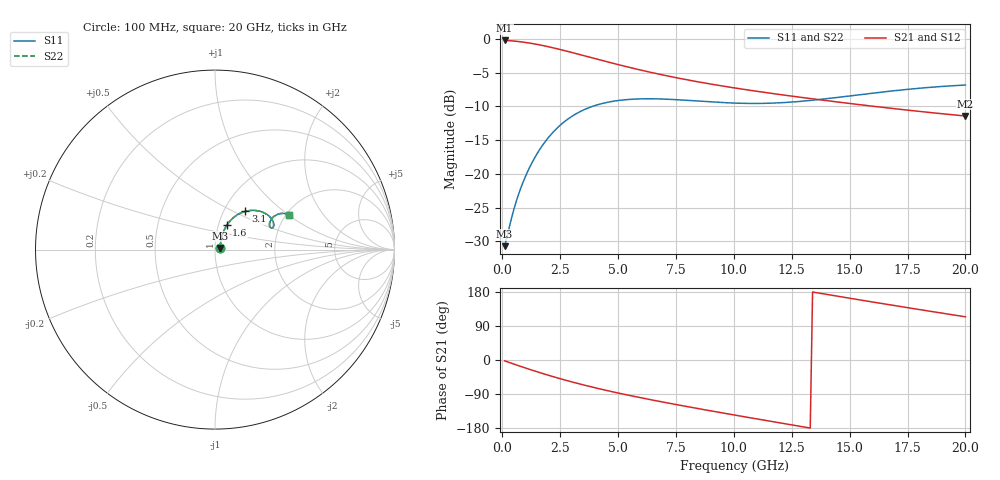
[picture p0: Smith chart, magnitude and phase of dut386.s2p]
! Touchstone file exported from HFSS 2024.1.0
!  File:  C:/UserFiles/LocalFiles/RDL_TSV_Batchsim/temp_RDL_TSV_386_1779646522.aedt
!  Generated:  02:29:13 AM May 25, 2026
!  Design:  RDL_TSV
!  Project:  temp_RDL_TSV_386_1779646522
!  Setup:  Setup1
!  Solution:  Sweep
! Variables:
!  dtsv = 10.23um
!  hbump = 3um
!  htsv = 61.57um
!  ldown = 650.05um
!  lrdl = 439.88um
!  p = 40
!  p1 = 58.31um
!  rhole = 10um
!  subl = 3709.67um
!  t = 450um
!  tdown = 2.2um
!  trdl = 4.18um
!  viad = 10um
!  wdown = 22.41um
!  wrdl = 10.8um
!  xbump = 18um
# GHz S MA R 50.000000
! Terminal data exported
! Port[1] = TM1_1_T1
! Port[2] = TM1_4_T1
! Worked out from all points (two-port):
!   200 points, 100 MHz to 20 GHz, reference 50 ohm
!   highest |S21| = -0.24 dB at 100 MHz (marker M1); lowest = -11.4 dB at 20 GHz (marker M2)
!   |S21| within 3 dB of the highest: start of sweep to 4.349 GHz
!   lowest |S11| = -30.7 dB at 100 MHz (marker M3), VSWR 1.06, Z = 52.8 + j0.976 ohm
!   |S11| at or under -10 dB: start of sweep to 3.907 GHz
!   |S22| runs from -30.7 to -6.8 dB; largest |S21 - S12| = 3.6e-14
!   S11 on the Smith chart (normalised r, x): 100 MHz: 1.06, +0.02; 1.6 GHz: 1.10, +0.30; 3.1 GHz: 1.26, +0.58; 20 GHz: 2.06, +1.01
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0.1  0.02908 18.5  0.9722 -2.2  0.9722 -2.2  0.02908 18.5
! Gamma 0 0 0 0
! Port Impedance 50 0 50 0
0.5  0.05447 53.5  0.9626 -10.8  0.9626 -10.8  0.05447 53.5
0.8  0.07845 61.3  0.9501 -17.1  0.9501 -17.1  0.07844 61.2
1.2  0.1133 64.7  0.9285 -25.1  0.9285 -25.1  0.1132 64.6
1.6  0.1498 64.2  0.9024 -32.9  0.9024 -32.9  0.1497 64.2
1.9  0.1773 62.6  0.8805 -38.6  0.8805 -38.6  0.1771 62.5
2.3  0.2125 59.4  0.8492 -45.9  0.8492 -45.9  0.2122 59.3
2.7  0.2446 55.5  0.8168 -52.8  0.8168 -52.8  0.2443 55.5
3.1  0.2728 51.5  0.7841 -59.4  0.7841 -59.4  0.2724 51.4
3.5  0.2966 47.5  0.7521 -65.7  0.7521 -65.7  0.2961 47.4
4.3  0.3311 40.0  0.6918 -77.5  0.6918 -77.5  0.3305 39.9
5.1  0.3506 33.7  0.6378 -88.4  0.6378 -88.4  0.3498 33.6
5.9  0.3586 28.6  0.5908 -98.6  0.5908 -98.6  0.3578 28.6
6.8  0.3584 24.5  0.5456 -109.4  0.5456 -109.4  0.3575 24.5
8.4  0.3463 20.9  0.4818 -127.6  0.4818 -127.6  0.3452 20.9
10.1  0.3336 21.4  0.4306 -146.0  0.4306 -146.0  0.3325 21.5
11.7  0.334 24.4  0.3925 -162.9  0.3925 -162.9  0.333 24.5
13.4  0.3507 27.7  0.3589 179.4  0.3589 179.4  0.35 27.8
15.1  0.3791 29.3  0.3302 162.0  0.3302 162.0  0.3786 29.5
16.7  0.4085 29.1  0.3067 146.0  0.3067 146.0  0.4082 29.2
18.3  0.4344 27.6  0.2863 130.3  0.2863 130.3  0.4343 27.7
20  0.4545 25.3  0.268 114.0  0.268 114.0  0.4545 25.4
